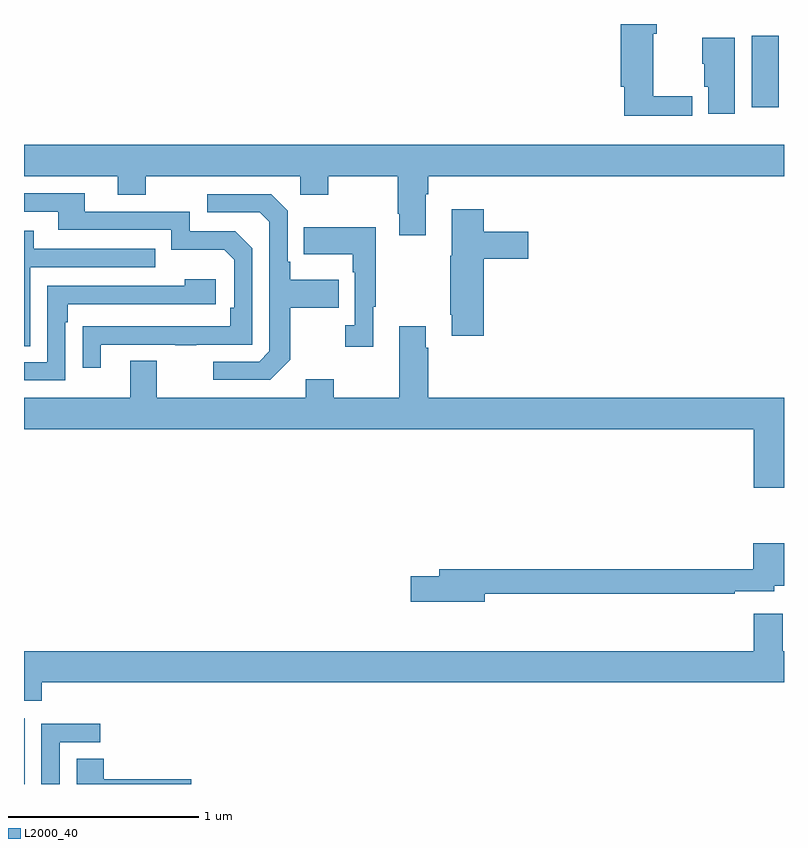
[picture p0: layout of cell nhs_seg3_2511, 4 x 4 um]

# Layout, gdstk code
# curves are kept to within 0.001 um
import gdstk
lib = gdstk.Library(unit=1e-6, precision=1e-09)
def R(c, l, rs):  # rectangles x0, y0, x1, y1
    for r in rs: c.add(gdstk.rectangle(r[:2], r[2:], *l))
def P(c, l, *ps):  # polygons
    for p in ps: c.add(gdstk.Polygon(p, *l))
L2000_40 = (2000, 40)

nhs_seg3_2511 = lib.new_cell('nhs_seg3_2511')
R(nhs_seg3_2511, L2000_40, [(241,680.4,241.003,680.746), (244.829,683.961,244.972,684.337)])
P(nhs_seg3_2511, L2000_40, [(244.516,684.02),(244.312,684.02),(244.312,684.35),(244.33,684.35),(244.33,684.4),(244.142,684.4),(244.142,684.069),(244.16,684.069),(244.16,683.918),(244.516,683.918)],
  [(244.741,684.328),(244.571,684.328),(244.571,684.192),(244.58,684.192),(244.58,684.069),(244.601,684.069),(244.601,683.928),(244.741,683.928)],
  [(243.115,683.504),(243.128,683.504),(243.128,683.6),(245,683.6),(245,683.764),(241,683.764),(241,683.6),(241.493,683.6),(241.493,683.501),(241.641,683.501),(241.641,683.6),(242.454,683.6),(242.454,683.501),(242.601,683.501),(242.601,683.6),(242.968,683.6),(242.968,683.401),(242.975,683.401),(242.975,683.289),(243.115,683.289)],
  [(241.405,682.713),(241.795,682.713),(241.795,682.708),(241.907,682.708),(241.907,682.713),(242.202,682.713),(242.202,683.22),(242.112,683.31),(241.872,683.31),(241.872,683.412),(241.321,683.412),(241.321,683.508),(241,683.508),(241,683.412),(241.181,683.412),(241.181,683.316),(241.776,683.316),(241.776,683.213),(242.053,683.213),(242.106,683.16),(242.106,682.906),(242.086,682.906),(242.086,682.809),(241.309,682.808),(241.309,682.59),(241.405,682.59)],
  [(242.401,682.633),(242.401,682.906),(242.657,682.906),(242.657,683.053),(242.401,683.053),(242.401,683.149),(242.388,683.149),(242.388,683.418),(242.301,683.505),(241.965,683.505),(241.965,683.409),(242.241,683.409),(242.292,683.358),(242.292,682.677),(242.238,682.623),(241.995,682.623),(241.995,682.527),(242.295,682.527)],
  [(243.419,683.165),(243.655,683.165),(243.655,683.307),(243.419,683.307),(243.419,683.425),(243.251,683.425),(243.251,683.181),(243.244,683.181),(243.244,682.87),(243.251,682.87),(243.251,682.758),(243.419,682.758)],
  [(242.839,682.913),(242.851,682.913),(242.851,683.329),(242.473,683.329),(242.473,683.189),(242.73,683.189),(242.73,683.093),(242.742,683.093),(242.742,682.814),(242.691,682.814),(242.691,682.701),(242.839,682.701)],
  [(241.032,683.121),(241.691,683.121),(241.691,683.217),(241.051,683.217),(241.051,683.311),(241,683.311),(241,682.705),(241.032,682.705)],
  [(241.218,682.829),(241.231,682.829),(241.231,682.926),(242.008,682.926),(242.008,683.056),(241.847,683.056),(241.847,683.022),(241.122,683.022),(241.122,682.62),(241,682.62),(241,682.524),(241.218,682.524)],
  [(245,682.432),(243.128,682.432),(243.128,682.697),(243.115,682.697),(243.115,682.81),(242.975,682.81),(242.975,682.432),(242.631,682.432),(242.631,682.531),(242.483,682.531),(242.483,682.432),(241.699,682.432),(241.699,682.627),(241.559,682.627),(241.559,682.432),(241,682.432),(241,682.268),(244.841,682.268),(244.841,681.96),(245,681.96)],
  [(243.424,681.402),(244.742,681.402),(244.742,681.414),(244.948,681.414),(244.948,681.443),(245,681.443),(245,681.667),(244.838,681.667),(244.838,681.53),(243.185,681.53),(243.185,681.494),(243.036,681.494),(243.036,681.359),(243.424,681.359)],
  [(241.094,680.936),(245,680.936),(245,681.1),(244.993,681.1),(244.993,681.295),(244.841,681.295),(244.841,681.1),(241,681.1),(241,680.837),(241.094,680.837)],
  [(241.188,680.619),(241.402,680.619),(241.402,680.718),(241.092,680.718),(241.092,680.4),(241.188,680.4)],
  [(241.879,680.426),(241.421,680.426),(241.421,680.534),(241.277,680.534),(241.277,680.4),(241.879,680.4)])

lib.write_gds('nhs_seg3_2511.gds')
